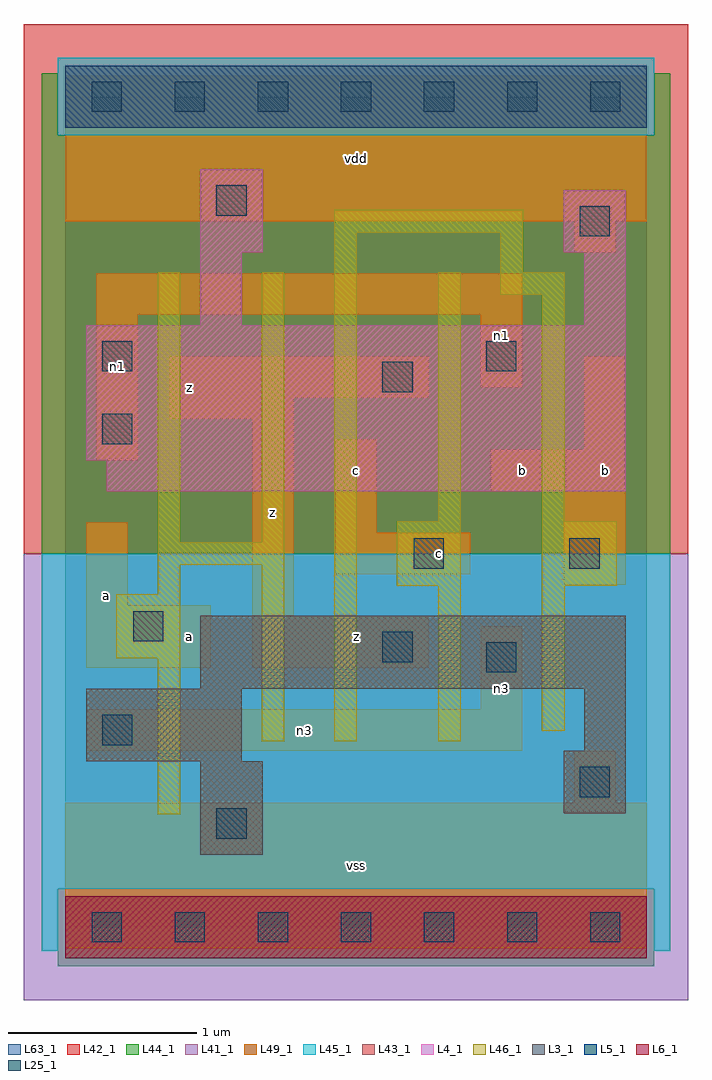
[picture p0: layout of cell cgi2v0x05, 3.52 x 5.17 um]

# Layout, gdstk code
import gdstk
lib = gdstk.Library(unit=1e-6, precision=1e-09)
def R(c, l, rs):  # rectangles x0, y0, x1, y1
    for r in rs: c.add(gdstk.rectangle(r[:2], r[2:], *l))
def A(c, l, x, y, w, h, nx, ny, dx, dy):  # array of equal rectangles
    R(c, l, [(x+i*dx, y+j*dy, x+i*dx+w, y+j*dy+h) for i in range(nx) for j in range(ny)])
L3_1 = (3, 1)
L4_1 = (4, 1)
L5_1 = (5, 1)
L6_1 = (6, 1)
L25_1 = (25, 1)
L41_1 = (41, 1)
L42_1 = (42, 1)
L43_1 = (43, 1)
L44_1 = (44, 1)
L45_1 = (45, 1)
L46_1 = (46, 1)
L49_1 = (49, 1)
L63_1 = (63, 1)

cgi2v0x05 = lib.new_cell('cgi2v0x05')
R(cgi2v0x05, L3_1, [(0.715,0.385,1.045,0.88), (2.64,0.605,2.97,0.935), (0.11,0.88,0.935,1.265), (2.75,0.935,2.97,1.265), (0.715,1.265,2.97,1.65)])
R(cgi2v0x05, L4_1, [(0.22,2.31,2.97,2.475), (0.11,2.475,2.97,3.19), (0.715,3.19,0.935,3.575), (2.75,3.19,2.97,3.575), (0.715,3.575,1.045,4.015), (2.64,3.575,2.97,3.905)])
R(cgi2v0x05, L5_1, [(0,4.235,3.08,4.565)])
R(cgi2v0x05, L6_1, [(0,-0.165,3.08,0.165)])
A(cgi2v0x05, L25_1, 0.14, -0.08, 0.16, 0.16, 7, 2, 0.44, 4.4)
R(cgi2v0x05, L25_1, [(0.8,0.47,0.96,0.63), (2.725,0.69,2.885,0.85), (0.195,0.965,0.355,1.125), (2.23,1.35,2.39,1.51), (1.68,1.405,1.84,1.565), (0.36,1.515,0.52,1.675), (1.845,1.9,2.005,2.06), (2.67,1.9,2.83,2.06), (0.195,2.56,0.355,2.72), (1.68,2.835,1.84,2.995), (0.195,2.945,0.355,3.105), (2.23,2.945,2.39,3.105), (2.725,3.66,2.885,3.82), (0.8,3.77,0.96,3.93)])
R(cgi2v0x05, L41_1, [(-0.22,-0.385,3.3,1.98)])
R(cgi2v0x05, L42_1, [(-0.22,1.98,3.3,4.785)])
R(cgi2v0x05, L43_1, [(0,-0.165,3.08,0.165), (0.715,0.385,1.045,0.88), (2.64,0.605,2.97,0.935), (0.11,0.88,0.935,1.265), (2.75,0.935,2.97,1.265), (0.715,1.265,2.97,1.65), (0.22,2.31,2.97,2.475), (0.11,2.475,2.97,3.19), (0.715,3.19,0.935,3.575), (2.75,3.19,2.97,3.575), (0.715,3.575,1.045,4.015), (2.64,3.575,2.97,3.905), (0,4.235,3.08,4.565)])
R(cgi2v0x05, L44_1, [(-0.04,-0.205,3.12,0.205), (-0.125,1.98,3.205,4.195), (-0.125,4.195,-0.04,4.525), (3.12,4.195,3.205,4.525)])
R(cgi2v0x05, L45_1, [(-0.125,-0.125,-0.04,0.205), (3.12,-0.125,3.205,0.205), (-0.125,0.205,3.205,1.98), (-0.04,4.195,3.12,4.605)])
R(cgi2v0x05, L46_1, [(0.49,0.6,0.61,1.425), (1.04,0.985,1.16,1.92), (1.425,0.985,1.545,3.68), (1.975,0.985,2.095,1.81), (2.525,1.04,2.645,1.81), (0.27,1.425,0.61,1.765), (0.49,1.765,0.61,1.92), (1.755,1.81,2.095,2.15), (2.525,1.81,2.92,2.15), (0.49,1.92,1.16,2.04), (0.49,2.04,0.61,3.47), (1.04,2.04,1.16,3.47), (1.975,2.15,2.095,3.47), (2.525,2.15,2.645,3.35), (2.305,3.35,2.645,3.47), (2.305,3.47,2.425,3.68), (1.425,3.68,2.425,3.8)])
R(cgi2v0x05, L49_1, [(0,-0.11,3.08,0.66), (2.695,0.66,2.915,0.935), (0.11,0.935,2.42,1.155), (2.2,1.155,2.42,1.595), (0.11,1.375,0.77,1.705), (0.99,1.375,1.925,1.65), (0.99,1.65,1.21,2.695), (0.11,1.705,0.33,2.145), (2.64,1.815,2.97,2.31), (1.43,1.87,2.145,2.09), (1.43,2.09,1.65,2.585), (2.255,2.31,2.97,2.53), (0.165,2.475,0.385,3.245), (2.75,2.53,2.97,3.025), (0.55,2.695,1.21,2.805), (0.55,2.805,1.925,3.025), (2.2,2.86,2.42,3.245), (0.165,3.245,2.42,3.465), (2.695,3.575,2.915,3.74), (0,3.74,3.08,4.51)])
R(cgi2v0x05, L63_1, [(0,0,3.08,4.4)])
cgi2v0x05.add(gdstk.Label('a', (0.22,1.76), layer=49, texttype=1))
cgi2v0x05.add(gdstk.Label('n1', (0.275,2.97), layer=49, texttype=1))
cgi2v0x05.add(gdstk.Label('a', (0.66,1.54), layer=49, texttype=1))
cgi2v0x05.add(gdstk.Label('z', (0.66,2.86), layer=49, texttype=1))
cgi2v0x05.add(gdstk.Label('vss', (1.54,0.33), layer=49, texttype=1))
cgi2v0x05.add(gdstk.Label('z', (1.54,1.54), layer=49, texttype=1))
cgi2v0x05.add(gdstk.Label('z', (1.1,2.2), layer=49, texttype=1))
cgi2v0x05.add(gdstk.Label('c', (1.54,2.42), layer=49, texttype=1))
cgi2v0x05.add(gdstk.Label('vdd', (1.54,4.07), layer=49, texttype=1))
cgi2v0x05.add(gdstk.Label('n3', (1.265,1.045), layer=49, texttype=1))
cgi2v0x05.add(gdstk.Label('n3', (2.31,1.265), layer=49, texttype=1))
cgi2v0x05.add(gdstk.Label('c', (1.98,1.98), layer=49, texttype=1))
cgi2v0x05.add(gdstk.Label('b', (2.42,2.42), layer=49, texttype=1))
cgi2v0x05.add(gdstk.Label('n1', (2.31,3.135), layer=49, texttype=1))
cgi2v0x05.add(gdstk.Label('b', (2.86,2.42), layer=49, texttype=1))

lib.write_gds('cgi2v0x05.gds')
